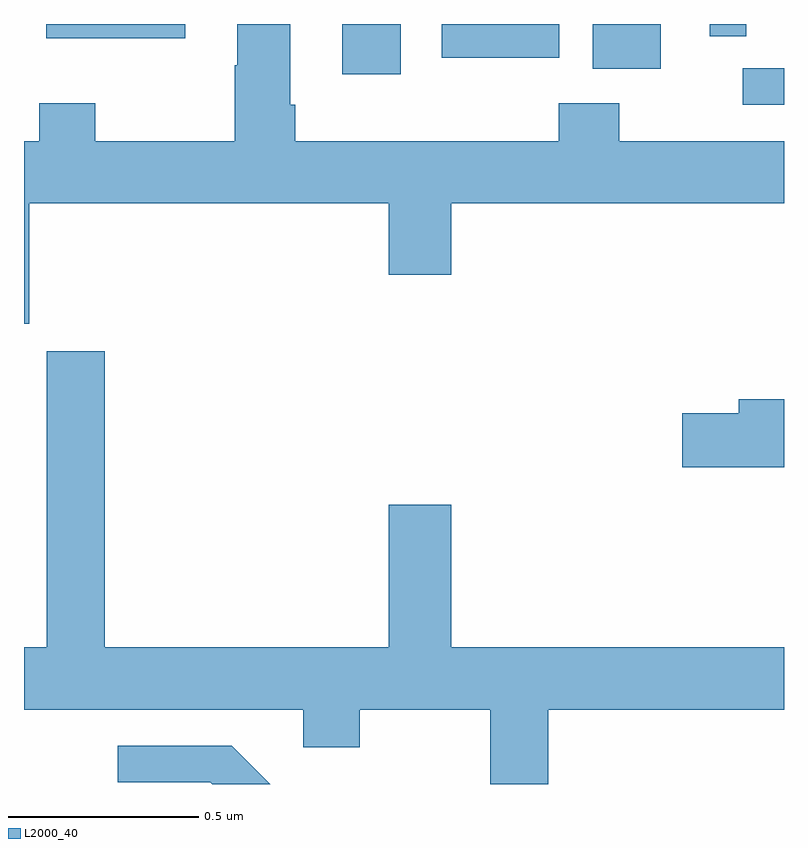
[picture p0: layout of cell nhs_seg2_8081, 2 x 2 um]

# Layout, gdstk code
import gdstk
lib = gdstk.Library(unit=1e-6, precision=1e-09)
def R(c, l, rs):  # rectangles x0, y0, x1, y1
    for r in rs: c.add(gdstk.rectangle(r[:2], r[2:], *l))
def P(c, l, *ps):  # polygons
    for p in ps: c.add(gdstk.Polygon(p, *l))
L2000_40 = (2000, 40)

nhs_seg2_8081 = lib.new_cell('nhs_seg2_8081')
R(nhs_seg2_8081, L2000_40, [(213.891,622.587,214,622.683), (212.837,622.668,212.992,622.8), (213.497,622.682,213.676,622.8), (213.099,622.711,213.408,622.8), (212.059,622.763,212.424,622.8), (213.804,622.768,213.9,622.8)])
P(nhs_seg2_8081, L2000_40, [(212.014,622.328),(212.96,622.328),(212.96,622.14),(213.124,622.14),(213.124,622.328),(214,622.328),(214,622.492),(213.567,622.492),(213.567,622.591),(213.407,622.591),(213.407,622.492),(212.714,622.492),(212.714,622.588),(212.701,622.588),(212.701,622.8),(212.561,622.8),(212.561,622.691),(212.554,622.691),(212.554,622.492),(212.187,622.492),(212.187,622.591),(212.04,622.591),(212.04,622.492),(212,622.492),(212,622.011),(212.014,622.011)],
  [(213.38,620.996),(214,620.996),(214,621.16),(213.124,621.16),(213.124,621.535),(212.96,621.535),(212.96,621.16),(212.213,621.16),(212.213,621.939),(212.06,621.939),(212.06,621.16),(212,621.16),(212,620.996),(212.735,620.996),(212.735,620.897),(212.883,620.897),(212.883,620.996),(213.227,620.996),(213.227,620.8),(213.38,620.8)],
  [(214,621.812),(213.881,621.812),(213.881,621.776),(213.732,621.776),(213.732,621.634),(214,621.634)],
  [(212.547,620.901),(212.247,620.901),(212.247,620.805),(212.49,620.805),(212.495,620.8),(212.648,620.8)])

lib.write_gds('nhs_seg2_8081.gds')
